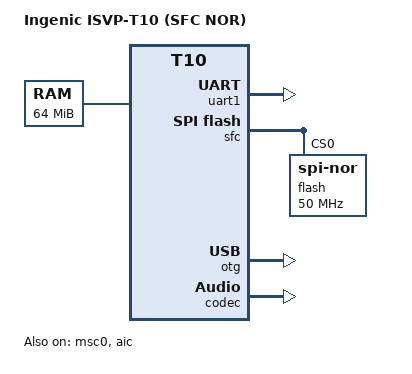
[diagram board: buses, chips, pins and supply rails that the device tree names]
// SPDX-License-Identifier: GPL-2.0+

/dts-v1/;

#include <dt-bindings/gpio/gpio.h>
#include "t10.dtsi"

/ {
	compatible = "ingenic,isvp-t10", "ingenic,t10";
	model = "Ingenic ISVP-T10 (SFC NOR)";

	aliases {
		serial1 = &uart1;
	};

	chosen {
		stdout-path = "serial1:115200n8";
	};

	memory {
		device_type = "memory";
		reg = <0x0 0x04000000>;	/* 64 MB DDR2 (T10N) */
	};
};

&uart1 {
	status = "okay";
};

&sfc {
	status = "okay";

	flash@0 {
		compatible = "jedec,spi-nor";
		reg = <0>;
		spi-max-frequency = <50000000>;
	};
};

&msc0 {
	status = "okay";
	bus-width = <4>;
	broken-cd;	/* no card-detect line wired on the ISVP board */
};

&otg {
	status = "okay";
};

&aic {
	status = "okay";
};

&codec {
	status = "okay";
	/* Speaker-amp enable: SDK default PB31, active-high. Override
	 * here per board if the amp is on a different pin/polarity. */
	ingenic,spk-gpio = <&gpb 31 GPIO_ACTIVE_HIGH>;
};

&sound {
	status = "okay";
};

&ddr {
	/* T10N: DDR2 64 MB M14D5121632A (4-bank), CPU 860 / DDR 400 MHz. */
	ingenic,sdram-params = <
		0x04708900 0x06405100 0x9a0b5510	/* APLL860 MPLL1200 CPCCR */
		0x04000000				/* 64 MB */
		0x0a688a40 0x000020fc 0x00002400	/* CFG MMAP0 MMAP1 */
		0x040d0606 0x02120607 0x20060418	/* TIMING1..3 */
		0x14240031 0xff060505 0x32120505	/* TIMING4..6 */
		0x00000002 0x3092667a 0x002a0090	/* DCR DTPR0 DTPR1 */
		0x03020d0c 0x07060504 0x0b0a0908	/* REMAP1..3 */
		0x0f0e0100 0x13121110			/* REMAP4..5 */
		2					/* cdr (DDR = MPLL/3 = 400) */
		0x00c20001				/* REFCNT */
		0x00000a73 0x00220014 0x05013880	/* MR0 PTR0 PTR1 */
	>;
};
